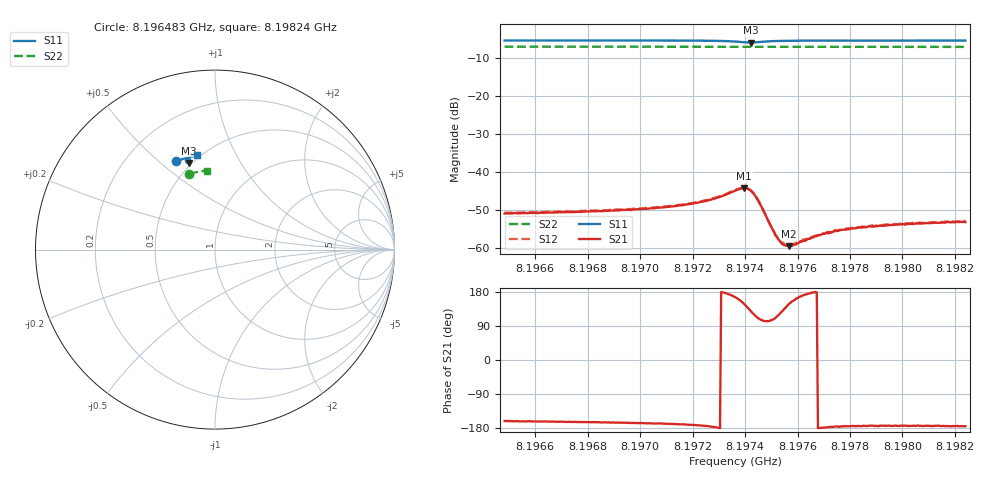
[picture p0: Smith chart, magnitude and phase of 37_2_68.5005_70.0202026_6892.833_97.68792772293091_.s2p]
#  HZ  S  RI  R  50.00
! Rohde & Schwarz Vector Network Analyzer
! Rohde-Schwarz,ZNB20-2Port,1311601062101988,3.16
! Created: UTC 3/20/2024, 4:50:10 PM
! freq[Hz]  re:S11  im:S11  re:S21  im:S21  re:S12  im:S12  re:S22  im:S22
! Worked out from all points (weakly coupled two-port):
!   401 points, 8.196483 GHz to 8.19824 GHz, reference 50 ohm
!   highest |S21| = -44.23 dB at 8.197397 GHz (marker M1); lowest = -59.5 dB at 8.197568 GHz (marker M2)
!   lowest |S11| = -5.9 dB at 8.197423 GHz (marker M3), VSWR 3.03, Z = 24.1 + j31.1 ohm
!   |S11| at or under -10 dB: nowhere
!   |S22| runs from -7.1 to -7.0 dB; largest |S21 - S12| = 0.00032
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8.1964835e9  -0.2152 0.4917  -0.00269 -0.000934  -0.00278 -0.000822  -0.143 0.4214
8.1967777e9  -0.1948 0.4997  -0.00289 -0.000854  -0.00301 -0.000748  -0.1269 0.4259
8.1970719e9  -0.1728 0.5068  -0.00334 -0.000749  -0.00342 -0.000639  -0.1109 0.4298
8.1971597e9  -0.1652 0.5084  -0.00362 -0.000651  -0.00369 -0.000519  -0.1061 0.4309
8.1972475e9  -0.156 0.5092  -0.00412 -0.000426  -0.00424 -0.000279  -0.1012 0.4319
8.197309e9  -0.1475 0.5078  -0.00481 3.85e-05  -0.00491 0.000258  -0.0976 0.4324
8.1973616e9  -0.1393 0.5007  -0.00554 0.00136  -0.00557 0.0016  -0.0948 0.4328
8.1973968e9  -0.1385 0.4893  -0.00519 0.00329  -0.00512 0.0036  -0.0928 0.4329
8.1974099e9  -0.1418 0.4848  -0.0045 0.00401  -0.00438 0.00427  -0.0922 0.433
8.1974231e9  -0.1473 0.4821  -0.00348 0.00445  -0.00331 0.00465  -0.0916 0.433
8.1974495e9  -0.158 0.4852  -0.00149 0.00398  -0.00138 0.00409  -0.0905 0.4334
8.1975065e9  -0.1611 0.5009  -0.000496 0.00165  -0.000449 0.00169  -0.0875 0.4343
8.1975241e9  -0.1594 0.504  -0.000598 0.00122  -0.000544 0.00126  -0.0865 0.4346
8.1975461e9  -0.157 0.5068  -0.000741 0.000833  -0.000754 0.000903  -0.0852 0.4349
8.1975592e9  -0.1557 0.5082  -0.000849 0.000656  -0.000853 0.000701  -0.0845 0.4348
8.197568e9  -0.1545 0.5089  -0.000908 0.000556  -0.000881 0.000615  -0.084 0.4351
8.1975856e9  -0.1527 0.5104  -0.00103 0.000433  -0.00105 0.000451  -0.083 0.4352
8.1976558e9  -0.1458 0.514  -0.00138 4.32e-05  -0.00141 9.62e-05  -0.0791 0.4359
8.1977041e9  -0.1415 0.5158  -0.00155 -4.08e-05  -0.00155 2.34e-05  -0.0763 0.4361
8.19777e9  -0.1361 0.5175  -0.00174 -0.000122  -0.00179 -7.89e-05  -0.0727 0.4369
8.19795e9  -0.122 0.5214  -0.002 -0.000227  -0.00204 -0.000147  -0.0625 0.4379
8.1982398e9  -0.1006 0.5257  -0.00219 -0.000202  -0.00226 -0.000122  -0.0461 0.4396
